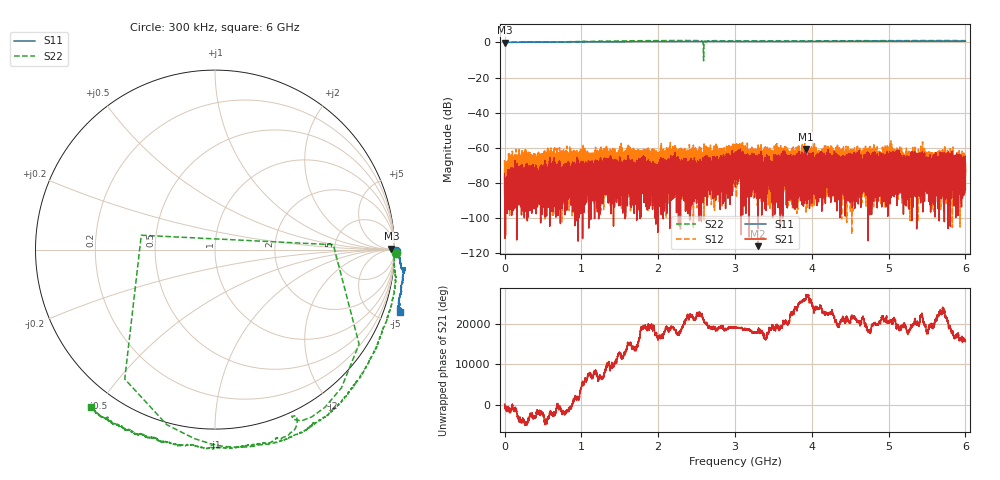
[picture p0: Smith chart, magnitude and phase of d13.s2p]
!Agilent Technologies,N5230C,SG49000117,A.08.50.07
!Agilent N5230C: A.08.50.07
!Date: Friday, May 17, 2024 03:32:50
!Correction: S11(Full 2 Port(1,2))
!S21(Full 2 Port(1,2))
!S12(Full 2 Port(1,2))
!S22(Full 2 Port(1,2))
!S2P File: Measurements: S11, S21, S12, S22:
# Hz S  MA  R 50
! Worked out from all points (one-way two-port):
!   20001 points, 300 kHz to 6 GHz, reference 50 ohm
!   highest |S21| = -60.64 dB at 3.926 GHz (marker M1); lowest = -116.0 dB at 3.302 GHz (marker M2)
!   lowest |S11| = -0.2 dB at 600 kHz (marker M3), VSWR 114.11, Z = 5.14e+03 + j1.7e+03 ohm
!   |S11| at or under -10 dB: nowhere
!   |S22| runs from -10.4 to 1.1 dB; largest |S21 - S12| = 0.0016
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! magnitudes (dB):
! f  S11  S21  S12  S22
! 300 kHz  0.1  -74.6  -67.0  0.1
! 600 kHz  -0.2  -87.2  -69.7  -0.3
! 30 MHz  0.0  -92.5  -70.5  0.0
! 159.6 MHz  0.1  -81.6  -70.2  0.1
! 1 GHz  0.3  -80.2  -65.7  0.5
! 2 GHz  0.5  -72.1  -71.3  1.0
! 2.209 GHz  0.5  -76.5  -78.7  1.0
! 2.566 GHz  0.5  -88.0  -67.0  0.8
! 2.628 GHz  0.5  -79.4  -61.8  0.5
! 2.851 GHz  0.5  -63.8  -72.4  0.9
! 3 GHz  0.5  -66.5  -58.8  0.9
! 3.302 GHz  0.5  -116.0  -68.5  0.8
! 3.381 GHz  0.5  -82.7  -66.1  0.9
! 3.82 GHz  0.6  -74.3  -68.9  0.9
! 3.926 GHz  0.5  -60.6  -67.3  0.9
! 4 GHz  0.5  -75.2  -77.4  0.9
! 5 GHz  0.7  -77.9  -70.2  1.0
! 5.266 GHz  0.7  -68.5  -74.6  1.0
! 5.325 GHz  0.7  -70.3  -66.0  1.0
! 5.382 GHz  0.7  -67.8  -72.1  1.0
! 5.717 GHz  0.7  -72.1  -65.0  1.0
! 6 GHz  0.7  -75.8  -71.9  0.9
